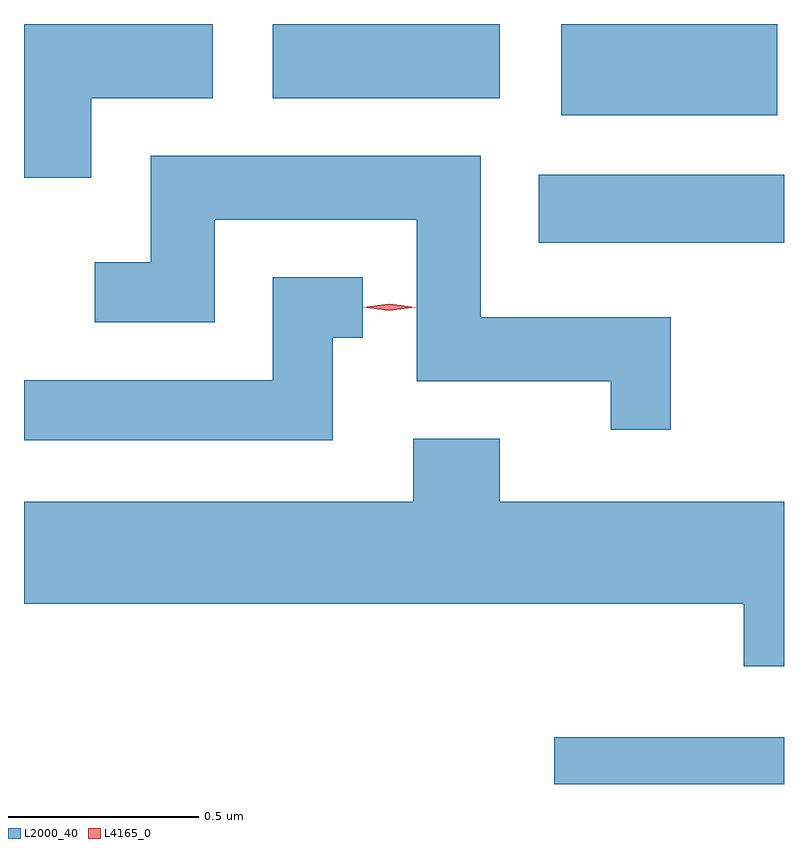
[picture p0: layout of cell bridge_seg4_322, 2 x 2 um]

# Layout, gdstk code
import gdstk
lib = gdstk.Library(unit=1e-6, precision=1e-09)
def R(c, l, rs):  # rectangles x0, y0, x1, y1
    for r in rs: c.add(gdstk.rectangle(r[:2], r[2:], *l))
def P(c, l, *ps):  # polygons
    for p in ps: c.add(gdstk.Polygon(p, *l))
L2000_40 = (2000, 40)
L4165_0 = (4165, 0)

bridge_seg4_322 = lib.new_cell('bridge_seg4_322')
R(bridge_seg4_322, L2000_40, [(509.833,1260.961,510.437,1261.084), (509.791,1262.386,510.437,1262.564), (509.851,1262.721,510.419,1262.961), (509.091,1262.766,509.689,1262.961)])
P(bridge_seg4_322, L2000_40, [(508.614,1262.766),(508.934,1262.766),(508.934,1262.961),(508.437,1262.961),(508.437,1262.556),(508.614,1262.556)],
  [(510.139,1262.189),(509.639,1262.189),(509.639,1262.614),(508.771,1262.614),(508.771,1262.334),(508.623,1262.334),(508.623,1262.176),(508.939,1262.176),(508.939,1262.446),(509.471,1262.446),(509.471,1262.021),(509.981,1262.021),(509.981,1261.893),(510.139,1261.893)],
  [(509.249,1262.136),(509.328,1262.136),(509.328,1262.294),(509.091,1262.294),(509.091,1262.024),(508.437,1262.024),(508.437,1261.866),(509.249,1261.866)],
  [(510.331,1261.271),(510.437,1261.271),(510.437,1261.704),(509.689,1261.704),(509.689,1261.869),(509.461,1261.869),(509.461,1261.704),(508.437,1261.704),(508.437,1261.436),(510.331,1261.436)])
P(bridge_seg4_322, L4165_0, [(509.398,1262.206),(509.329,1262.215),(509.329,1262.215),(509.329,1262.216),(509.398,1262.225),(509.468,1262.216),(509.468,1262.216),(509.468,1262.215)])

lib.write_gds('bridge_seg4_322.gds')
